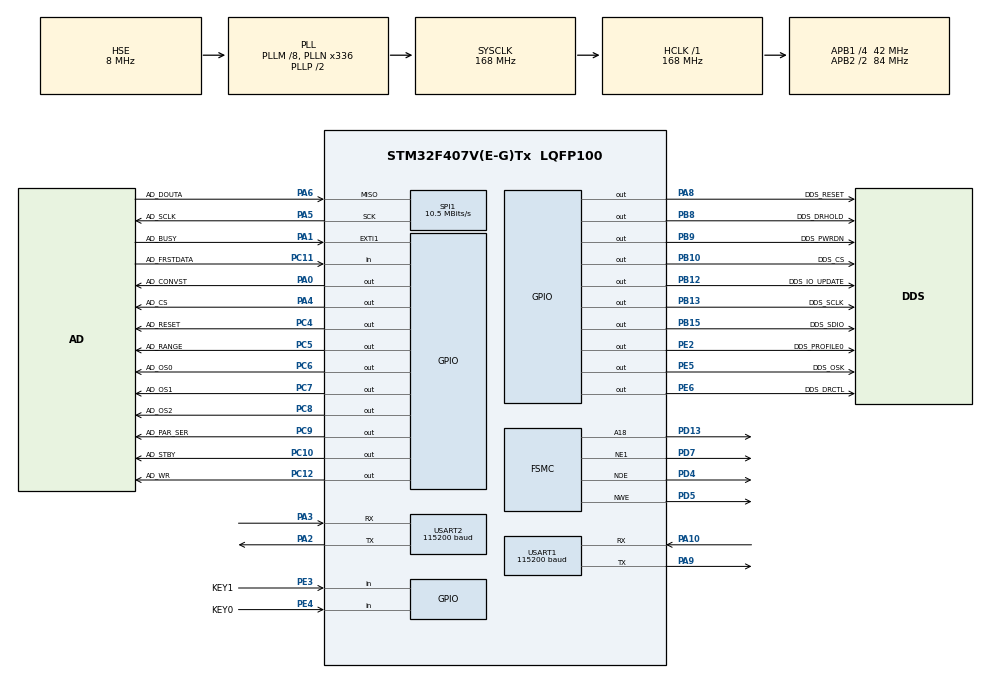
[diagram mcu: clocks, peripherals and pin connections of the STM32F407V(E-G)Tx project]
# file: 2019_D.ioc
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FSMC.AddressHoldTime=2
FSMC.AddressSetupTime=2
FSMC.DataSetupTime=5
FSMC.DataWidth=16
FSMC.MemoryType=SRAM
Mcu.Family=STM32F4
Mcu.Name=STM32F407V(E-G)Tx
Mcu.Package=LQFP100
NVIC.EXTI1_IRQn=true\:1\:1\:false\:false\:true\:true\:true\:true
NVIC.PriorityGroup=NVIC_PRIORITYGROUP_4
NVIC.USART1_IRQn=true\:3\:0\:false\:false\:true\:true\:true\:true
NVIC.USART2_IRQn=true\:3\:1\:false\:false\:true\:true\:true\:true
PA0-WKUP.GPIO_Label=AD_CONVST
PA0-WKUP.GPIO_Speed=GPIO_SPEED_FREQ_HIGH
PA0-WKUP.Signal=GPIO_Output
PA1.GPIO_Label=AD_BUSY
PA1.GPIO_ModeDefaultEXTI=GPIO_MODE_IT_FALLING
PA1.GPIO_PuPd=GPIO_NOPULL
PA1.Signal=GPXTI1
PA2.Mode=Asynchronous
PA2.Signal=USART2_TX
PA3.Mode=Asynchronous
PA3.Signal=USART2_RX
PA13.Mode=Serial_Wire
PA13.Signal=SYS_JTMS-SWDIO
PA14.Mode=Serial_Wire
PA14.Signal=SYS_JTCK-SWCLK
PA4.GPIO_Label=AD_CS
PA4.GPIO_Speed=GPIO_SPEED_FREQ_HIGH
PA4.Signal=GPIO_Output
PA5.GPIO_Label=AD_SCLK
PA5.Mode=Full_Duplex_Master
PA5.Signal=SPI1_SCK
PA6.GPIO_Label=AD_DOUTA
PA6.Mode=Full_Duplex_Master
PA6.Signal=SPI1_MISO
PA8.GPIO_Label=DDS_RESET
PA8.Signal=GPIO_Output
PA9.Mode=Asynchronous
PA9.Signal=USART1_TX
PA10.Mode=Asynchronous
PA10.Signal=USART1_RX
PB10.GPIO_Label=DDS_CS
PB10.Signal=GPIO_Output
PB12.GPIO_Label=DDS_IO_UPDATE
PB12.Signal=GPIO_Output
PB13.GPIO_Label=DDS_SCLK
PB13.Signal=GPIO_Output
PB15.GPIO_Label=DDS_SDIO
PB15.Signal=GPIO_Output
PB8.GPIO_Label=DDS_DRHOLD
PB8.Signal=GPIO_Output
PB9.GPIO_Label=DDS_PWRDN
PB9.Signal=GPIO_Output
PC10.GPIO_Label=AD_STBY
PC10.Signal=GPIO_Output
PC11.GPIO_Label=AD_FRSTDATA
PC11.Signal=GPIO_Input
PC12.GPIO_Label=AD_WR
PC12.Signal=GPIO_Output
PC4.GPIO_Label=AD_RESET
PC4.Signal=GPIO_Output
PC5.GPIO_Label=AD_RANGE
PC5.Signal=GPIO_Output
PC6.GPIO_Label=AD_OS0
PC6.Signal=GPIO_Output
PC7.GPIO_Label=AD_OS1
PC7.Signal=GPIO_Output
PC8.GPIO_Label=AD_OS2
PC8.Signal=GPIO_Output
PC9.GPIO_Label=AD_PAR_SER
PC9.Signal=GPIO_Output
PD0.Signal=FSMC_D2
PD1.Signal=FSMC_D3
PD10.Signal=FSMC_D15
PD13.Mode=A18_1
PD13.Signal=FSMC_A18
PD14.Signal=FSMC_D0
PD15.Signal=FSMC_D1
PD4.Mode=Lcd1
PD4.Signal=FSMC_NOE
PD5.Mode=Lcd1
PD5.Signal=FSMC_NWE
PD7.Mode=NorPsramChipSelect1_1
PD7.Signal=FSMC_NE1
PD8.Signal=FSMC_D13
PD9.Signal=FSMC_D14
PE10.Signal=FSMC_D7
PE11.Signal=FSMC_D8
PE12.Signal=FSMC_D9
PE13.Signal=FSMC_D10
PE14.Signal=FSMC_D11
PE15.Signal=FSMC_D12
PE2.GPIO_Label=DDS_PROFILE0
PE2.Signal=GPIO_Output
PE3.GPIO_Label=KEY1
PE3.GPIO_PuPd=GPIO_PULLUP
PE3.Signal=GPIO_Input
PE4.GPIO_Label=KEY0
PE4.GPIO_PuPd=GPIO_PULLUP
PE4.Signal=GPIO_Input
PE5.GPIO_Label=DDS_OSK
PE5.Signal=GPIO_Output
PE6.GPIO_Label=DDS_DRCTL
PE6.Signal=GPIO_Output
PE7.Signal=FSMC_D4
PE8.Signal=FSMC_D5
PE9.Signal=FSMC_D6
PH0-OSC_IN.Mode=HSE-External-Oscillator
PH0-OSC_IN.Signal=RCC_OSC_IN
PH1-OSC_OUT.Mode=HSE-External-Oscillator
PH1-OSC_OUT.Signal=RCC_OSC_OUT
ProjectManager.HeapSize=0x200
ProjectManager.StackSize=0x400
ProjectManager.TargetToolchain=MDK-ARM V5.32
RCC.48MHZClocksFreq_Value=48000000
RCC.AHBFreq_Value=168000000
RCC.APB1CLKDivider=RCC_HCLK_DIV4
RCC.APB1Freq_Value=42000000
RCC.APB1TimFreq_Value=84000000
RCC.APB2CLKDivider=RCC_HCLK_DIV2
RCC.APB2Freq_Value=84000000
RCC.APB2TimFreq_Value=168000000
RCC.CortexFreq_Value=168000000
RCC.HCLKFreq_Value=168000000
RCC.HSE_VALUE=8000000
RCC.HSI_VALUE=16000000
RCC.LSE_VALUE=32768
RCC.PLLM=8
RCC.PLLN=336
RCC.PLLSourceVirtual=RCC_PLLSOURCE_HSE
RCC.PLL_M=8
RCC.PLL_N=336
RCC.PLL_P=RCC_PLLP_DIV2
RCC.PLL_Q=7
RCC.SYSCLKFreq_VALUE=168000000
RCC.SYSCLKSource=RCC_SYSCLKSOURCE_PLLCLK
RCC.USBFreq_Value=48000000
RCC.VCOOutputFreq_Value=336000000
SYS.Debug=SYS_DEBUG_SERIAL_WIRE
SPI1.BaudRatePrescaler=SPI_BAUDRATEPRESCALER_8
SPI1.CalculateBaudRate=10.5 MBits/s
SPI1.CLKPhase=SPI_PHASE_2EDGE
SPI1.CLKPolarity=SPI_POLARITY_HIGH
SPI1.DataSize=SPI_DATASIZE_16BIT
SPI1.Direction=SPI_DIRECTION_2LINES
SPI1.Mode=SPI_MODE_MASTER
SPI1.VirtualType=VM_MASTER
USART1.BaudRate=115200
USART1.VirtualMode=VM_ASYNC
USART2.BaudRate=115200
USART2.VirtualMode=VM_ASYNC
board=custom

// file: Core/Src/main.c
/* USER CODE BEGIN Header */
/**
  ******************************************************************************
  * @file           : main.c
  * @brief          : Main program body
  ******************************************************************************
  * @attention
  *
  * Copyright (c) 2026 STMicroelectronics.
  * All rights reserved.
  *
  * This software is licensed under terms that can be found in the LICENSE file
  * in the root directory of this software component.
  * If no LICENSE file comes with this software, it is provided AS-IS.
  *
  ******************************************************************************
  */
/* USER CODE END Header */
#include "main.h"
#include "gpio.h"
#include "fsmc.h"
#include "spi.h"
#include "usart.h"

/* USER CODE BEGIN Includes */
#include "ad7606b.h"
#include "dds_app.h"
#include "lcd.h"
#include "measure_app.h"
#include "serial_cmd.h"
#include "serial_screen.h"
#include "serial_wave.h"
#include "ui_menu.h"

/* USER CODE END Includes */

/* USER CODE BEGIN PD */
#define APP_LCD_REFRESH_MS 33U
#define APP_SAMPLE_RATE_HZ 40000U
#define APP_TIM_CLOCK_HZ 84000000U  /* APB1 定时器时钟，TIM3 采样和 TIM4 扫频共用 */
#define APP_DRG_TIMER_TICK_HZ 10000U
#define APP_DRG_DIRECTION_MS 1100U
#define APP_SERIAL_TASK_MS 20U

/* USER CODE END PD */

/* USER CODE BEGIN PV */
volatile int16_t ad_samples[AD7606B_CHANNEL_COUNT];
volatile uint32_t ad_sample_count;   /* BUSY 中断中递增，40kHz 下约 29.8 小时回绕一次。 */
volatile uint32_t ad_sample_fail_count;
volatile uint32_t ad_sample_rate_hz;
volatile uint8_t ad_last_read_ok;

/* USER CODE END PV */

void SystemClock_Config(void);
/* USER CODE BEGIN PFP */
void APP_TIM3_IRQHandler(void);
void APP_TIM4_IRQHandler(void);
void APP_AD_BUSY_IRQHandler(void);

/* USER CODE END PFP */

/* USER CODE BEGIN 0 */
static void APP_TIM3_Init(void)
{
  uint32_t period = (APP_TIM_CLOCK_HZ / APP_SAMPLE_RATE_HZ);

  /* TIM3 只负责固定频率触发 CONVST，不在定时器中断里等待 ADC 转换完成。 */
  __HAL_RCC_TIM3_CLK_ENABLE();

  if (period == 0U) {
    period = 1U;
  }

  TIM3->CR1 = 0U;
  TIM3->PSC = 0U;
  TIM3->ARR = (uint16_t)(period - 1U);
  TIM3->CNT = 0U;
  TIM3->EGR = TIM_EGR_UG;
  TIM3->SR = 0U;
  TIM3->DIER = TIM_DIER_UIE;

  HAL_NVIC_SetPriority(TIM3_IRQn, 1, 0);
  HAL_NVIC_EnableIRQ(TIM3_IRQn);

  TIM3->CR1 = TIM_CR1_CEN;
}

static void APP_TIM4_Init(void)
{
  uint32_t prescaler = (APP_TIM_CLOCK_HZ / APP_DRG_TIMER_TICK_HZ);
  uint32_t period = ((APP_DRG_TIMER_TICK_HZ * APP_DRG_DIRECTION_MS) / 1000U);

  __HAL_RCC_TIM4_CLK_ENABLE();

  if (prescaler == 0U) {
    prescaler = 1U;
  }
  if (period == 0U) {
    period = 1U;
  }

  TIM4->CR1 = 0U;
  TIM4->PSC = (uint16_t)(prescaler - 1U);
  TIM4->ARR = (uint16_t)(period - 1U);
  TIM4->CNT = 0U;
  TIM4->EGR = TIM_EGR_UG;
  TIM4->SR = 0U;
  TIM4->DIER = TIM_DIER_UIE;

  HAL_NVIC_SetPriority(TIM4_IRQn, 2, 0);  /* TIM4 只翻转 DRG 方向，优先级低于采样链路。 */
  HAL_NVIC_EnableIRQ(TIM4_IRQn);

  TIM4->CR1 = TIM_CR1_CEN;
}

void APP_TIM3_IRQHandler(void)
{
  /* BUSY 仍为高说明上一帧没读完，跳过本次触发并计入失败次数。 */
  if ((AD_BUSY_GPIO_Port->IDR & AD_BUSY_Pin) == 0U) {
    AD7606B_StartConversion();
  } else {
    ad_sample_fail_count++;
  }
}

void APP_AD_BUSY_IRQHandler(void)
{
  /* AD7606B 转换完成后立即读 8 通道，尽量缩短下一次 TIM3 到来前的占用窗口。 */
  if (AD7606B_ReadChannelsReady((int16_t *)ad_samples) != 0U) {
    Measure_AppAccumulate((const int16_t *)ad_samples);
    ad_sample_count++;
    ad_last_read_ok = 1U;
  } else {
    ad_sample_fail_count++;
    ad_last_read_ok = 0U;
  }
}

void APP_TIM4_IRQHandler(void)
{
  DDS_AppDrgTimerTick();
}

/* USER CODE END 0 */

int main(void)
{

  /* MCU Configuration--------------------------------------------------------*/

  /* Reset of all peripherals, Initializes the Flash interface and the Systick. */
  HAL_Init();

  /* Configure the system clock */
  SystemClock_Config();

  /* Initialize all configured peripherals */
  MX_GPIO_Init();
  MX_FSMC_Init();
  MX_SPI1_Init();
  MX_USART1_UART_Init();
  MX_USART2_UART_Init();
  /* USER CODE BEGIN 2 */
  /* 初始化顺序：先串口/按键/显示/测量框架，再复位外设 AD7606B 和 AD9910。 */
  SerialWave_Init();
  SerialCommand_Init();
  SerialScreen_Init();
  Measure_AppInit();
  UI_MenuKeysInit();
  LCD_Init();
  LCD_Fill(LCD_COLOR_RED);
  HAL_Delay(50);
  LCD_Fill(LCD_COLOR_GREEN);
  HAL_Delay(50);
  LCD_Fill(LCD_COLOR_BLUE);
  HAL_Delay(50);
  LCD_Fill(LCD_COLOR_BLACK);

  ad_sample_rate_hz = APP_SAMPLE_RATE_HZ;
  AD7606B_Init();
  DDS_AppInit();
  DDS_AppDraw((const int16_t *)ad_samples, 0U, ad_sample_rate_hz, ad_sample_fail_count);
  APP_TIM3_Init();
  APP_TIM4_Init();

  /* USER CODE END 2 */

  /* Infinite loop */
  /* USER CODE BEGIN WHILE */
  uint32_t last_draw_tick = HAL_GetTick();
  uint32_t last_serial_tick = HAL_GetTick();
  int16_t snapshot_samples[AD7606B_CHANNEL_COUNT];
  uint32_t fail_count;
  uint32_t now;
  uint8_t last_ok;
  uint8_t draw_due;
  uint8_t serial_due;
  uint8_t i;

  while (1)
  {
    now = HAL_GetTick();
    UI_KeyEvent key_event = UI_MenuScanKeys(now);

    DDS_AppHandleKey(key_event);
    SerialCommand_Tick();
    DDS_AppTick(now);

    draw_due = ((uint32_t)(now - last_draw_tick) >= APP_LCD_REFRESH_MS) ? 1U : 0U;
    serial_due = ((uint32_t)(now - last_serial_tick) >= APP_SERIAL_TASK_MS) ? 1U : 0U;

    if ((draw_due != 0U) || (serial_due != 0U)) {
      /* 显示和串口使用同一份快照，避免读到 ISR 正在更新的一半数据。 */
      __disable_irq();
      for (i = 0U; i < AD7606B_CHANNEL_COUNT; i++) {
        snapshot_samples[i] = ad_samples[i];
      }
      fail_count = ad_sample_fail_count;
      last_ok = ad_last_read_ok;
      __enable_irq();
    }

    if (draw_due != 0U) {
      DDS_AppDraw(snapshot_samples, last_ok, ad_sample_rate_hz, fail_count);
      last_draw_tick = now;
    }

    if (serial_due != 0U) {
      SerialWave_Tick(now, snapshot_samples);
      SerialScreen_Tick(now, snapshot_samples, last_ok, ad_sample_rate_hz, fail_count);
      last_serial_tick = now;
    }

    /* USER CODE END WHILE */

  }
}

void SystemClock_Config(void)
{
  RCC_OscInitTypeDef RCC_OscInitStruct = {0};
  RCC_ClkInitTypeDef RCC_ClkInitStruct = {0};

  /** Configure the main internal regulator output voltage
  */
  __HAL_RCC_PWR_CLK_ENABLE();
  __HAL_PWR_VOLTAGESCALING_CONFIG(PWR_REGULATOR_VOLTAGE_SCALE1);

  /** Initializes the RCC Oscillators according to the specified parameters
  * in the RCC_OscInitTypeDef structure.
  */
  RCC_OscInitStruct.OscillatorType = RCC_OSCILLATORTYPE_HSE;
  RCC_OscInitStruct.HSEState = RCC_HSE_ON;
  RCC_OscInitStruct.PLL.PLLState = RCC_PLL_ON;
  RCC_OscInitStruct.PLL.PLLSource = RCC_PLLSOURCE_HSE;
  RCC_OscInitStruct.PLL.PLLM = 8;
  RCC_OscInitStruct.PLL.PLLN = 336;
  RCC_OscInitStruct.PLL.PLLP = RCC_PLLP_DIV2;
  RCC_OscInitStruct.PLL.PLLQ = 7;
  if (HAL_RCC_OscConfig(&RCC_OscInitStruct) != HAL_OK)
  {
    Error_Handler();
  }

  /** Initializes the CPU, AHB and APB buses clocks
  */
  RCC_ClkInitStruct.ClockType = RCC_CLOCKTYPE_HCLK|RCC_CLOCKTYPE_SYSCLK
                              |RCC_CLOCKTYPE_PCLK1|RCC_CLOCKTYPE_PCLK2;
  RCC_ClkInitStruct.SYSCLKSource = RCC_SYSCLKSOURCE_PLLCLK;
  RCC_ClkInitStruct.AHBCLKDivider = RCC_SYSCLK_DIV1;
  RCC_ClkInitStruct.APB1CLKDivider = RCC_HCLK_DIV4;
  RCC_ClkInitStruct.APB2CLKDivider = RCC_HCLK_DIV2;

  if (HAL_RCC_ClockConfig(&RCC_ClkInitStruct, FLASH_LATENCY_5) != HAL_OK)
  {
    Error_Handler();
  }
}

void Error_Handler(void)
{
  __disable_irq();
  while (1)
  {
  }
}
